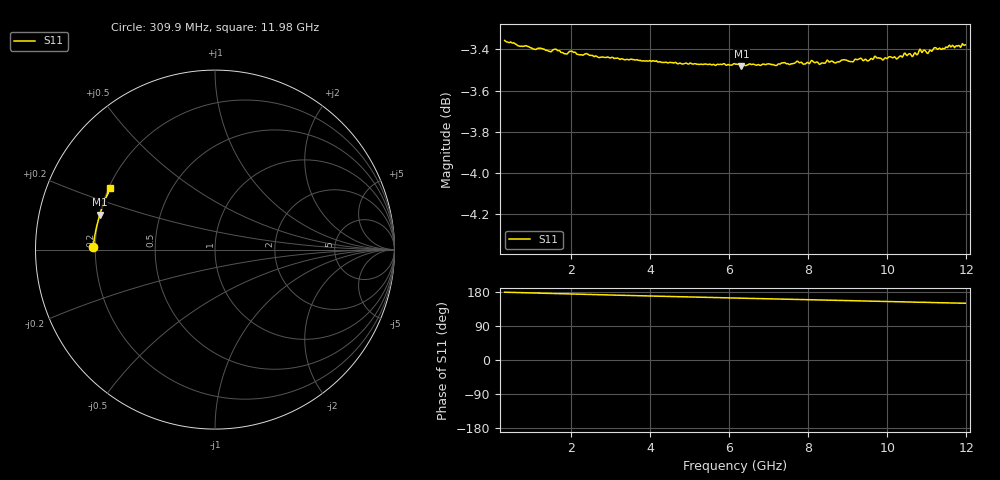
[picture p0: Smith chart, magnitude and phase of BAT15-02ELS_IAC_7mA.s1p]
! Infineon Technologies  Discrete & RF Semiconductors
! BAT15-02ELS
! IAC = 7 mA
! One-Port S-Parameters
# Hz  S  MA  R  50
!f  S11
!Hz  Mag  Ang
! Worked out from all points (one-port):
!   468 points, 309.9 MHz to 11.98 GHz, reference 50 ohm
!   lowest |S11| = -3.5 dB at 6.307 GHz (marker M1), VSWR 5.06, Z = 10.1 + j7.11 ohm
!   |S11| at or under -10 dB: nowhere
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3.0985e8  0.6795 178.9
1.584212e9  0.6762 175.4
1.784112e9  0.6749 174.8
2.009e9  0.6755 174.2
3.233388e9  0.6723 170.9
4.70765e9  0.6707 167.1
6.156925e9  0.6706 163.5
6.30685e9  0.6699 163.1
7.6062e9  0.6708 160.0
7.831088e9  0.6713 159.5
8.030988e9  0.6708 158.9
8.2059e9  0.6713 158.6
8.4058e9  0.6709 158.1
8.6057e9  0.6717 157.7
8.780612e9  0.6714 157.2
8.930538e9  0.6722 156.9
9.080462e9  0.6715 156.5
9.730138e9  0.6729 155.0
9.980012e9  0.6727 154.3
1.017991e10  0.6733 153.9
1.037981e10  0.6732 153.3
1.052974e10  0.6742 153.1
1.075462e10  0.6741 152.5
1.095452e10  0.6758 152.2
1.112944e10  0.6754 151.6
1.127936e10  0.6761 151.4
1.147926e10  0.677 150.9
1.197901e10  0.6778 149.8
